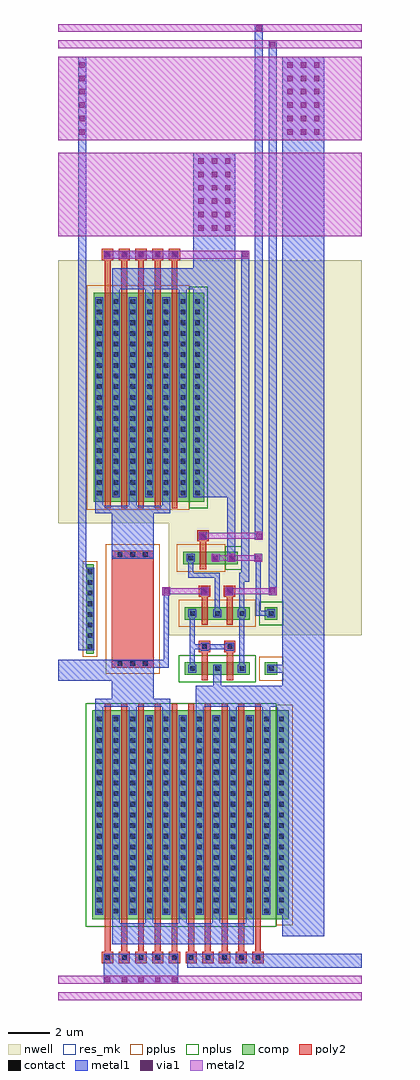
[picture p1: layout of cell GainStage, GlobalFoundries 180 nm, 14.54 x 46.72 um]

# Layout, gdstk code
import gdstk
lib = gdstk.Library(unit=1e-6, precision=1e-09)
def R(c, l, rs):  # rectangles x0, y0, x1, y1
    for r in rs: c.add(gdstk.rectangle(r[:2], r[2:], *l))
def A(c, l, x, y, w, h, nx, ny, dx, dy):  # array of equal rectangles
    R(c, l, [(x+i*dx, y+j*dy, x+i*dx+w, y+j*dy+h) for i in range(nx) for j in range(ny)])
def P(c, l, *ps):  # polygons
    for p in ps: c.add(gdstk.Polygon(p, *l))
nwell = (21, 0)
comp = (22, 0)
poly2 = (30, 0)
pplus = (31, 0)
nplus = (32, 0)
contact = (33, 0)
metal1 = (34, 0)
via1 = (35, 0)
metal2 = (36, 0)
res_mk = (110, 5)

gainstage = lib.new_cell('GainStage')
R(gainstage, nwell, [(-0.98,2.93,8.26,8.29), (-6.28,8.29,8.26,20.87)])
R(gainstage, comp, [(-4.65,-10.67,4.75,-0.67), (-0.21,1.03,2.89,1.63), (3.62,1.03,4.22,1.63), (-4.93,2.05,-4.57,6.32), (-0.21,3.68,2.89,4.28), (3.62,3.68,4.22,4.28), (-0.29,6.33,2.31,6.93), (-4.58,9.32,0.72,19.32)])
A(gainstage, poly2, -4.18, -12.77, 0.54, 0.54, 10, 1, 0.8, 0)
A(gainstage, poly2, -4.05, -12.23, 0.28, 11.87, 10, 1, 0.8, 0)
A(gainstage, poly2, -4.05, 9.01, 0.28, 11.87, 5, 1, 0.8, 0)
A(gainstage, poly2, -4.18, 20.88, 0.54, 0.54, 5, 1, 0.8, 0)
R(gainstage, poly2, [(0.59,0.78,0.89,2.12), (1.8,0.78,2.1,2.12), (-3.71,1.38,-1.71,6.98), (0.46,2.12,1,2.66), (1.67,2.12,2.21,2.66), (0.59,3.43,0.89,4.77), (1.78,3.43,2.08,4.77), (0.46,4.77,1,5.31), (1.65,4.77,2.19,5.31), (0.51,6.08,0.81,7.42), (0.38,7.42,0.92,7.96)])
R(gainstage, pplus, [(4.16,-10.94,4.96,-0.4), (3.35,0.76,4.49,1.9), (-4.01,1.08,-1.41,7.28), (-5.09,1.89,-4.41,6.48), (-0.51,3.33,3.19,4.63), (-0.59,5.98,1.71,7.28), (-4.9,8.94,0,19.69)])
R(gainstage, nplus, [(-4.95,-11.02,4.16,-0.32), (-0.51,0.68,3.19,1.98), (3.35,3.4,4.49,4.54), (1.71,6.06,2.51,7.2), (0,9.005,0.88,19.615)])
A(gainstage, contact, -4.02, -12.61, 0.22, 0.22, 10, 1, 0.8, 0)
A(gainstage, contact, -4.42, -10.37, 0.22, 0.22, 11, 19, 0.8, 0.51)
A(gainstage, contact, 4.3, -10.37, 0.22, 0.22, 1, 19, 0, 0.51)
A(gainstage, contact, -4.86, 2.29, 0.22, 0.22, 1, 8, 0, 0.51)
A(gainstage, contact, -4.42, 9.62, 0.22, 0.22, 6, 19, 0.8, 0.51)
A(gainstage, contact, 0.28, 9.62, 0.22, 0.22, 1, 19, 0, 0.51)
A(gainstage, contact, -4.02, 21.04, 0.22, 0.22, 5, 1, 0.8, 0)
R(gainstage, contact, [(0.04,1.22,0.26,1.44), (1.23,1.22,1.45,1.44), (2.41,1.22,2.63,1.44), (3.81,1.22,4.03,1.44), (-3.42,1.46,-3.2,1.68), (-2.82,1.46,-2.6,1.68), (-2.82,1.46,-2.6,1.68), (-2.22,1.46,-2,1.68), (0.62,2.28,0.84,2.5), (1.83,2.28,2.05,2.5), (0.04,3.87,0.26,4.09), (1.23,3.87,1.45,4.09), (2.41,3.87,2.63,4.09), (3.81,3.87,4.03,4.09), (0.62,4.93,0.84,5.15), (1.81,4.93,2.03,5.15), (-0.04,6.52,0.18,6.74), (1.15,6.52,1.37,6.74), (1.9,6.52,2.12,6.74), (-3.42,6.68,-3.2,6.9), (-2.82,6.68,-2.6,6.9), (-2.82,6.68,-2.6,6.9), (-2.22,6.68,-2,6.9), (0.54,7.58,0.76,7.8)])
A(gainstage, metal1, -4.1, -12.69, 0.38, 0.38, 10, 1, 0.8, 0)
A(gainstage, metal1, -3.7, -10.85, 0.38, 0.4, 5, 1, 1.6, 0)
A(gainstage, metal1, -4.5, -10.45, 0.38, 9.56, 11, 1, 0.8, 0)
A(gainstage, metal1, -4.5, -0.89, 0.38, 0.4, 6, 1, 1.6, 0)
A(gainstage, metal1, -4.5, 9.14, 0.38, 0.4, 3, 1, 1.6, 0)
A(gainstage, metal1, -4.5, 9.54, 0.38, 9.56, 6, 1, 0.8, 0)
A(gainstage, metal1, -3.7, 19.1, 0.38, 0.4, 3, 1, 1.6, 0)
A(gainstage, metal1, -4.1, 20.96, 0.38, 0.38, 5, 1, 0.8, 0)
R(gainstage, metal1, [(-4.1,-13.75,-0.52,-12.31), (-0.1,-12.99,8.26,-12.31), (-4.1,-12.69,-0.52,-12.31), (-0.1,-12.69,3.48,-12.31), (-3.7,-11.85,3.08,-10.85), (4.46,-11.47,6.46,30.63), (4.22,-10.45,4.6,-0.89), (4.22,-0.89,4.6,-0.49), (-4.5,-0.49,-0.92,-0.11), (-3.71,-0.49,-1.71,1.76), (0.3,-0.49,6.46,0.51), (1.15,0.07,1.53,1.52), (-6.28,0.76,-1.71,1.76), (-0.04,1.14,0.34,1.52), (1.15,1.14,1.53,1.52), (2.33,1.14,2.71,1.52), (3.73,1.14,4.11,1.52), (3.73,1.14,6.46,1.52), (0.03,1.21,0.27,4.1), (2.4,1.21,2.64,4.1), (-3.71,1.38,-0.98,1.76), (-1.22,1.38,-0.98,5.16), (2.4,1.52,2.64,3.79), (0.54,2.2,0.92,2.58), (1.75,2.2,2.13,2.58), (-5.32,2.21,-4.94,30.63), (-4.94,2.21,-4.56,6.16), (0.03,2.27,2.06,2.51), (-0.04,3.79,0.34,4.17), (1.15,3.79,1.53,4.17), (2.33,3.79,2.71,4.17), (3.73,3.79,4.11,4.17), (1.22,3.85,1.46,5.93), (2.4,3.85,2.64,5.93), (3.17,3.86,3.41,6.75), (3.17,3.86,4.04,4.1), (-1.29,4.84,-0.91,5.22), (0.54,4.85,0.92,5.23), (1.73,4.85,2.11,5.23), (3.8,4.85,4.18,31.41), (2.48,5.48,2.86,21.34), (-0.05,5.69,1.46,5.93), (-0.05,5.69,0.19,6.75), (-0.12,6.44,0.26,6.82), (1.07,6.44,1.45,6.82), (1.82,6.44,2.2,9.68), (1.82,6.44,2.2,6.82), (3.1,6.44,3.48,6.82), (-3.71,6.6,-1.71,9.14), (0.46,7.5,0.84,7.88), (3.14,7.5,3.52,32.19), (-4.5,8.76,-0.92,9.14), (0.2,9.54,2.2,26.03), (0.2,9.54,0.58,19.1), (-3.7,19.5,2.2,20.5), (-4.1,20.96,-0.52,21.34)])
P(gainstage, metal1, [(1.46,3.85),(1.46,3.85),(1.46,3.85),(1.46,3.85)])
A(gainstage, via1, -4.04, -13.69, 0.26, 0.26, 5, 2, 0.8, 34.71)
A(gainstage, via1, 0.43, 22.3, 0.26, 0.26, 3, 6, 0.64, 0.64)
A(gainstage, via1, -5.26, 26.9, 0.26, 0.26, 1, 6, 0, 0.64)
A(gainstage, via1, 4.69, 26.9, 0.26, 0.26, 3, 6, 0.64, 0.64)
R(gainstage, via1, [(-1.23,4.91,-0.97,5.17), (0.6,4.91,0.86,5.17), (1.79,4.91,2.05,5.17), (3.86,4.91,4.12,5.17), (1.13,6.5,1.39,6.76), (1.88,6.5,2.14,6.76), (3.16,6.5,3.42,6.76), (0.52,7.56,0.78,7.82), (3.2,7.56,3.46,7.82), (2.54,21.02,2.8,21.28), (3.86,31.09,4.12,31.35), (3.2,31.87,3.46,32.13)])
R(gainstage, metal2, [(-6.28,-14.53,8.26,-14.15), (-6.28,-13.75,8.26,-13.37), (-1.29,4.84,-0.91,5.22), (0.54,4.85,0.92,5.23), (1.73,4.85,2.11,5.23), (3.8,4.85,4.18,5.23), (-1.21,4.9,0.84,5.18), (1.78,4.9,4.13,5.18), (1.07,6.44,1.45,6.82), (1.82,6.44,2.2,6.82), (3.1,6.44,3.48,6.82), (1.12,6.49,3.43,6.77), (0.46,7.5,0.84,7.88), (3.14,7.5,3.52,7.88), (0.59,7.55,3.47,7.83), (-4.1,20.96,2.86,21.34), (-6.28,22.03,8.26,26.03), (-6.28,26.63,8.26,30.63), (-6.28,31.03,8.26,31.41), (-6.28,31.81,8.26,32.19)])
R(gainstage, res_mk, [(-3.71,1.68,-1.71,6.68), (-3.71,1.68,-1.71,6.68)])

lib.write_gds('GainStage.gds')
